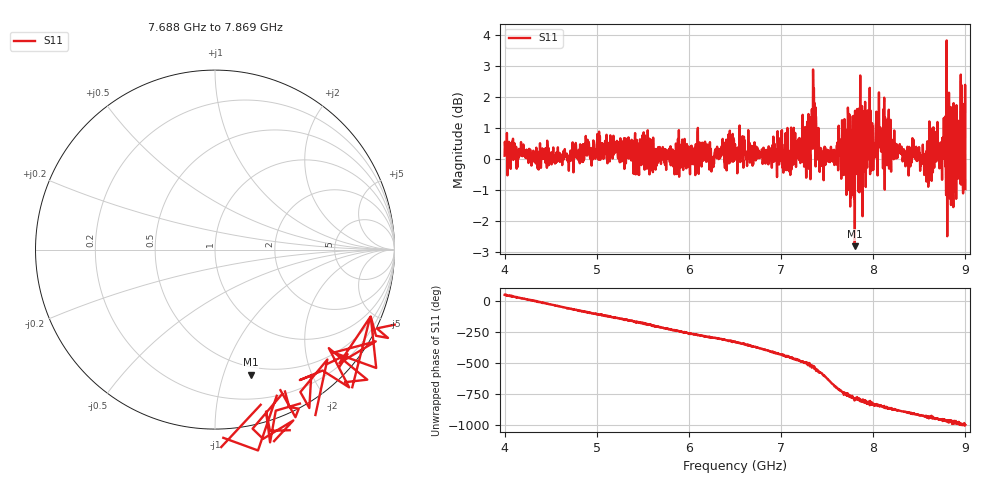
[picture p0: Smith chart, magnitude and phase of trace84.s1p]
! Created with skrf 1.8.0 (http://scikit-rf.org).
# Hz S RI R 50.0
!freq ReS11 ImS11
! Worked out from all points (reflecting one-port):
!   1601 points, 4 GHz to 9 GHz, reference 50 ohm
!   lowest |S11| = -2.8 dB at 7.8 GHz (marker M1), VSWR 6.25, Z = 21.1 - j61.9 ohm
!   phase of S11 starts at 50 deg and turns -1050 deg over the sweep
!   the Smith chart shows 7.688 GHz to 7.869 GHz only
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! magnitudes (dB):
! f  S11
! 4 GHz  0.1
! 4.625 GHz  -0.2
! 4.891 GHz  0.4
! 5.25 GHz  -0.1
! 5.875 GHz  0.0
! 6.5 GHz  0.5
! 7.125 GHz  0.6
! 7.294 GHz  0.7
! 7.347 GHz  2.9
! 7.438 GHz  -0.1
! 7.647 GHz  0.2
! 7.75 GHz  -1.5
! 7.775 GHz  0.7
! 7.8 GHz  -2.8
! 7.847 GHz  1.6
! 7.909 GHz  0.5
! 7.962 GHz  2.3
! 7.997 GHz  0.4
! 8.053 GHz  1.1
! 8.375 GHz  -0.1
! 8.444 GHz  0.1
! 8.581 GHz  -0.5
! 8.656 GHz  0.5
! 8.738 GHz  0.0
! 8.816 GHz  0.4
! 8.856 GHz  -0.3
! 8.972 GHz  -0.5
! 9 GHz  -1.0
